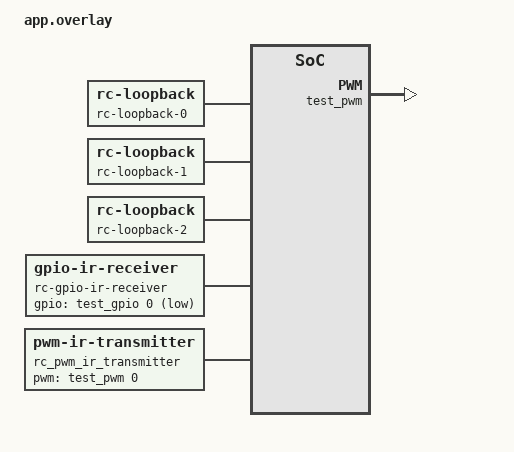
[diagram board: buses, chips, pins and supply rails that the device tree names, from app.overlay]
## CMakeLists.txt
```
# SPDX-FileCopyrightText: Copyright (c) 2026 Linumiz
# SPDX-License-Identifier: Apache-2.0

cmake_minimum_required(VERSION 3.28.0)
find_package(Zephyr REQUIRED HINTS $ENV{ZEPHYR_BASE})
project(build_all)

target_sources(app PRIVATE src/main.c)
```

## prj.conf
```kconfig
# SPDX-FileCopyrightText: Copyright (c) 2026 Linumiz
# SPDX-License-Identifier: Apache-2.0

CONFIG_RC=y
CONFIG_GPIO=y
CONFIG_PWM=y
CONFIG_COUNTER=y
```

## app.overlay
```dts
/*
 * SPDX-FileCopyrightText: Copyright (c) 2026 Linumiz
 * SPDX-License-Identifier: Apache-2.0
 */

#include <zephyr/dt-bindings/gpio/gpio.h>
#include <zephyr/dt-bindings/rc/rc-proto.h>

/ {
	rc-loopback-0 {
		compatible = "zephyr,rc-loopback";
		status = "okay";
	};

	rc-loopback-1 {
		compatible = "zephyr,rc-loopback";
		protocols = <RC_PROTO_NEC RC_PROTO_RC5>;
		rx-timeout-us = <100000>;
		status = "okay";
	};

	rc-loopback-2 {
		compatible = "zephyr,rc-loopback";
		hw-rx-timeout;
		rx-timeout-us = <5000>;
		status = "okay";
	};

	test {
		#address-cells = <1>;
		#size-cells = <1>;

		test_gpio: gpio@0 {
			compatible = "vnd,gpio";
			reg = <0x0 0x1000>;
			gpio-controller;
			#gpio-cells = <0x2>;
			status = "okay";
		};

		test_pwm: pwm@1000 {
			compatible = "vnd,pwm";
			reg = <0x1000 0x1000>;
			#pwm-cells = <3>;
			status = "okay";
		};
	};

	rc-gpio-ir-receiver {
		compatible = "gpio-ir-receiver";
		gpios = <&test_gpio 0 GPIO_ACTIVE_LOW>;
		protocols = <RC_PROTO_NEC>;
		status = "okay";
	};

	rc_pwm_ir_transmitter: rc-pwm-ir-transmitter {
		compatible = "pwm-ir-transmitter";
		pwms = <&test_pwm 0 0 0>;
		counter = <&counter0>;
		status = "okay";
	};
};
```

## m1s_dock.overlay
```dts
/*
 * SPDX-FileCopyrightText: Copyright (c) 2026 Linumiz
 * SPDX-License-Identifier: Apache-2.0
 */

&pinctrl {
	ir_tx_pwm_default: ir_tx_pwm_default {
		group1 {
			pinmux = <GPIO12_PWM0_CH0P>;
		};
	};
};

&pwm0 {
	pinctrl-0 = <&ir_tx_pwm_default>;
	pinctrl-names = "default";
	status = "okay";
};

&timer {
	status = "okay";
};

&timer0 {
	status = "okay";
};

/ {
	rc-pwm-ir-transmitter {
		compatible = "pwm-ir-transmitter";
		pwms = <&pwm0 0 PWM_USEC(26) PWM_POLARITY_NORMAL>;
		counter = <&timer0>;
	};
};
```

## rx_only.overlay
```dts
/*
 * SPDX-FileCopyrightText: Copyright (c) 2026 Linumiz
 * SPDX-License-Identifier: Apache-2.0
 */

/ {
	rc-loopback-0 {
		rx-only;
	};

	rc-loopback-1 {
		rx-only;
	};

	rc-loopback-2 {
		rx-only;
	};
};

&rc_pwm_ir_transmitter {
	status = "disabled";
};
```

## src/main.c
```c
/*
 * SPDX-FileCopyrightText: Copyright (c) 2026 Linumiz
 * SPDX-License-Identifier: Apache-2.0
 */

int main(void)
{
	return 0;
}
```
